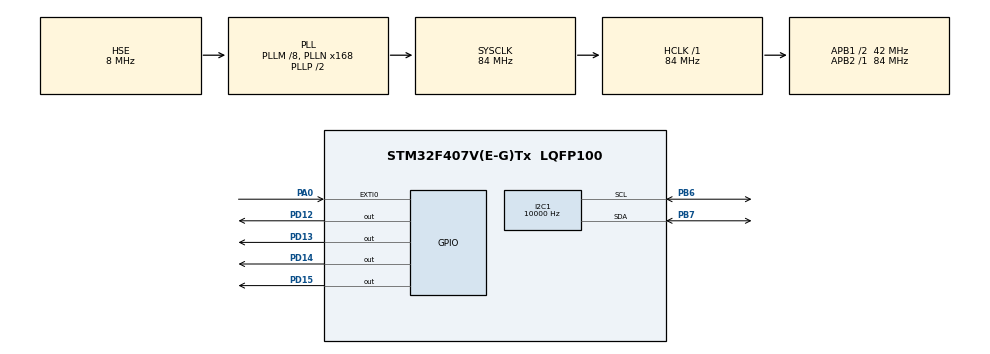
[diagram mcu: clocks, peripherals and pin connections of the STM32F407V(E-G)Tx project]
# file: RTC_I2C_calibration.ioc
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I2C1.ClockSpeed=10000
I2C1.I2C_Mode=I2C_Standard
Mcu.Family=STM32F4
Mcu.Name=STM32F407V(E-G)Tx
Mcu.Package=LQFP100
NVIC.EXTI0_IRQn=true\:0\:0\:false\:false\:true\:true
NVIC.PriorityGroup=NVIC_PRIORITYGROUP_4
PA0-WKUP.Signal=GPXTI0
PA13.Mode=Serial_Wire
PA13.Signal=SYS_JTMS-SWDIO
PA14.Mode=Serial_Wire
PA14.Signal=SYS_JTCK-SWCLK
PB6.Mode=I2C
PB6.Signal=I2C1_SCL
PB7.Mode=I2C
PB7.Signal=I2C1_SDA
PC14-OSC32_IN.Mode=LSE-External-Oscillator
PC14-OSC32_IN.Signal=RCC_OSC32_IN
PC15-OSC32_OUT.Mode=LSE-External-Oscillator
PC15-OSC32_OUT.Signal=RCC_OSC32_OUT
PD12.GPIO_PuPd=GPIO_NOPULL
PD12.GPIO_Speed=GPIO_SPEED_FREQ_VERY_HIGH
PD12.PinState=GPIO_PIN_RESET
PD12.Signal=GPIO_Output
PD13.GPIO_Speed=GPIO_SPEED_FREQ_VERY_HIGH
PD13.Signal=GPIO_Output
PD14.GPIO_Speed=GPIO_SPEED_FREQ_VERY_HIGH
PD14.Signal=GPIO_Output
PD15.GPIO_Speed=GPIO_SPEED_FREQ_VERY_HIGH
PD15.Signal=GPIO_Output
PH0-OSC_IN.Mode=HSE-External-Clock-Source
PH0-OSC_IN.Signal=RCC_OSC_IN
PH1-OSC_OUT.Mode=HSE-External-Clock-Source
PH1-OSC_OUT.Signal=RCC_OSC_OUT
ProjectManager.HeapSize=0x200
ProjectManager.StackSize=0x400
ProjectManager.TargetToolchain=SW4STM32
RCC.48MHZClocksFreq_Value=42000000
RCC.AHBFreq_Value=84000000
RCC.APB1CLKDivider=RCC_HCLK_DIV2
RCC.APB1Freq_Value=42000000
RCC.APB1TimFreq_Value=84000000
RCC.APB2Freq_Value=84000000
RCC.APB2TimFreq_Value=84000000
RCC.CortexFreq_Value=84000000
RCC.HCLKFreq_Value=84000000
RCC.HSE_VALUE=8000000
RCC.HSI_VALUE=16000000
RCC.PLLM=8
RCC.PLLN=168
RCC.PLLSourceVirtual=RCC_PLLSOURCE_HSE
RCC.RCC_RTC_Clock_SourceVirtual=RCC_RTCCLKSOURCE_LSE
RCC.SYSCLKFreq_VALUE=84000000
RCC.SYSCLKSource=RCC_SYSCLKSOURCE_PLLCLK
RCC.VCOOutputFreq_Value=168000000
RTC.Alarm=RTC_ALARM_A
RTC.Alarm_B=RTC_ALARM_B
RTC.Format=RTC_FORMAT_BIN
RTC.Hours=23
RTC.Minutes=59
RTC.Minutes_A=0
RTC.Seconds=59
RTC.Seconds_A=5
RTC.SubSeconds_A=0
RTC.Year=19
VP_RTC_VS_RTC_Activate.Mode=RTC_Enabled
VP_RTC_VS_RTC_Alarm_A_Intern.Mode=Alarm A
VP_RTC_VS_RTC_Alarm_B_Intern.Mode=Alarm B
VP_RTC_VS_RTC_Calendar.Mode=RTC_Calendar
board=custom

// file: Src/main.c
/* USER CODE BEGIN Header */
/**
 ******************************************************************************
 * @file           : main.c
 * @brief          : Main program body
 ******************************************************************************
 ** This notice applies to any and all portions of this file
 * that are not between comment pairs USER CODE BEGIN and
 * USER CODE END. Other portions of this file, whether
 * inserted by the user or by software development tools
 * are owned by their respective copyright owners.
 *
 * COPYRIGHT(c) 2019 STMicroelectronics
 *
 * Redistribution and use in source and binary forms, with or without modification,
 * are permitted provided that the following conditions are met:
 *   1. Redistributions of source code must retain the above copyright notice,
 *      this list of conditions and the following disclaimer.
 *   2. Redistributions in binary form must reproduce the above copyright notice,
 *      this list of conditions and the following disclaimer in the documentation
 *      and/or other materials provided with the distribution.
 *   3. Neither the name of STMicroelectronics nor the names of its contributors
 *      may be used to endorse or promote products derived from this software
 *      without specific prior written permission.
 *
 * THIS SOFTWARE IS PROVIDED BY THE COPYRIGHT HOLDERS AND CONTRIBUTORS "AS IS"
 * AND ANY EXPRESS OR IMPLIED WARRANTIES, INCLUDING, BUT NOT LIMITED TO, THE
 * IMPLIED WARRANTIES OF MERCHANTABILITY AND FITNESS FOR A PARTICULAR PURPOSE ARE
 * DISCLAIMED. IN NO EVENT SHALL THE COPYRIGHT HOLDER OR CONTRIBUTORS BE LIABLE
 * FOR ANY DIRECT, INDIRECT, INCIDENTAL, SPECIAL, EXEMPLARY, OR CONSEQUENTIAL
 * DAMAGES (INCLUDING, BUT NOT LIMITED TO, PROCUREMENT OF SUBSTITUTE GOODS OR
 * SERVICES; LOSS OF USE, DATA, OR PROFITS; OR BUSINESS INTERRUPTION) HOWEVER
 * CAUSED AND ON ANY THEORY OF LIABILITY, WHETHER IN CONTRACT, STRICT LIABILITY,
 * OR TORT (INCLUDING NEGLIGENCE OR OTHERWISE) ARISING IN ANY WAY OUT OF THE USE
 * OF THIS SOFTWARE, EVEN IF ADVISED OF THE POSSIBILITY OF SUCH DAMAGE.
 *
 ******************************************************************************
 */
/* USER CODE END Header */

#include "main.h"

/* USER CODE BEGIN Includes */
#include "ssd1306_tests.h"
#include "ssd1306.h"
#include "rtc_mon_1.h"
/* USER CODE END Includes */

I2C_HandleTypeDef hi2c1;

RTC_HandleTypeDef hrtc;

/* USER CODE BEGIN PV */
RTC_TimeTypeDef sTime;
RTC_DateTypeDef sDate;

uint32_t lastdebouncetime;
uint8_t buttonpressed;//button pressed
uint8_t longpressed_detected;//detect long pressed button
uint8_t State_buttonpressed1;//state allow calibration Hour
uint8_t State_buttonpressed2;//state allow calibration Minutes
uint8_t State_buttonpressed3;//state idle
uint8_t flag1;//enable short press to increase the Hour
uint8_t flag2;//enable short press to increase Minute
/* USER CODE END PV */

void SystemClock_Config(void);
static void MX_GPIO_Init(void);
static void MX_I2C1_Init(void);
static void MX_RTC_Init(void);

/* USER CODE BEGIN 0 */
void initOLED() {
	ssd1306_Init();
	ssd1306_Fill(White);
	// Flush buffer to screen
	ssd1306_UpdateScreen();
}
/* USER CODE END 0 */

int main(void)
{

  /* MCU Configuration--------------------------------------------------------*/

  /* Reset of all peripherals, Initializes the Flash interface and the Systick. */
  HAL_Init();

  /* Configure the system clock */
  SystemClock_Config();

  /* USER CODE BEGIN SysInit */
	__HAL_RCC_PWR_CLK_ENABLE();
	void HAL_PWR_EnableBkUpAccess();
	__HAL_RCC_RTC_CONFIG(RCC_RTCCLKSOURCE_LSI);
	__HAL_RCC_RTC_ENABLE();

  /* USER CODE END SysInit */

  /* Initialize all configured peripherals */
  MX_GPIO_Init();
  MX_I2C1_Init();
  MX_RTC_Init();
  /* USER CODE BEGIN 2 */
  //monitoring OLED
  initOLED();

  /* USER CODE END 2 */

  /* Infinite loop */
  /* USER CODE BEGIN WHILE */
	while (1)
	{
		HAL_GPIO_TogglePin(GPIOD, GPIO_PIN_12);
		HAL_RTC_GetTime(&hrtc,&sTime,RTC_FORMAT_BIN);
		HAL_RTC_GetDate(&hrtc, &sDate, RTC_FORMAT_BIN);
		//show on OLED
		RTC_Mon(&sTime);
/*detect the long pressed button to enter the Hour calibration*/
		if((HAL_GPIO_ReadPin(GPIOA,GPIO_PIN_0)==1)&&(!buttonpressed)&&((HAL_GetTick()- lastdebouncetime)>5000))
		{

			HAL_GPIO_TogglePin(GPIOD, GPIO_PIN_14);
			buttonpressed=1;
			State_buttonpressed1 ^= 0x01;
			State_buttonpressed3=0;

		}

		if (State_buttonpressed1&&!State_buttonpressed2)
		{
			if ((HAL_GPIO_ReadPin(GPIOA,GPIO_PIN_0)==1)&&!flag1)
			{

				HAL_Delay(500);
				sTime.Hours++;
				flag1=1;
				if (sTime.Hours >24)
				{
					sTime.Hours=0;
					HAL_RTC_SetTime(&hrtc, &sTime, RTC_FORMAT_BIN);
				}
				else
					HAL_RTC_SetTime(&hrtc, &sTime, RTC_FORMAT_BIN);

			}
			/*detect the long pressed button to enter the Minute calibration*/
			if((HAL_GPIO_ReadPin(GPIOA,GPIO_PIN_0)==1)&&(!buttonpressed)&&((HAL_GetTick()- lastdebouncetime)>3000))
			{

				HAL_GPIO_TogglePin(GPIOD, GPIO_PIN_13);
				buttonpressed=1;
				State_buttonpressed2 ^= 0x01;
				State_buttonpressed1=0;

			}
			/*detect the short pressed button or long press and decide to increase Hour*/
			if (((HAL_GetTick()- lastdebouncetime)>400))
			{
				flag1=1;
			}
			else {

				flag1=0;
			}
		}
		else
		{

		}
		if (State_buttonpressed2&&!State_buttonpressed3)
		{
			if ((HAL_GPIO_ReadPin(GPIOA,GPIO_PIN_0)==1)&&!flag2)
			{
				HAL_Delay(500);
				sTime.Minutes=sTime.Minutes +0x1;
				flag2=1;
				if (sTime.Minutes > 60)
				{
					sTime.Minutes=0;
				}
				HAL_RTC_SetTime(&hrtc, &sTime, RTC_FORMAT_BIN);
			}

			if((HAL_GPIO_ReadPin(GPIOA,GPIO_PIN_0)==1)&&(!buttonpressed)&&((HAL_GetTick()- lastdebouncetime)>2000))
			{
				buttonpressed=1;
				State_buttonpressed3 ^= 0x01;

			}
			/*detect the short pressed button or long press and decide to increase Minute*/
			if (((HAL_GetTick()- lastdebouncetime)>400))
						{
							flag2=1;
						}
						else {

							flag2=0;
						}
		}
		if (State_buttonpressed3)
		{
			HAL_GPIO_WritePin(GPIOD, GPIO_PIN_15,SET);
			State_buttonpressed1=0;
			State_buttonpressed2=0;
			flag1=0;
			flag2=0;
		}
		else
		{

		}
    /* USER CODE END WHILE */

    /* USER CODE BEGIN 3 */

		/* USER CODE END WHILE */

		/* USER CODE BEGIN 3 */
	}
  /* USER CODE END 3 */
}

void SystemClock_Config(void)
{
  RCC_OscInitTypeDef RCC_OscInitStruct = {0};
  RCC_ClkInitTypeDef RCC_ClkInitStruct = {0};
  RCC_PeriphCLKInitTypeDef PeriphClkInitStruct = {0};

  /**Configure the main internal regulator output voltage
  */
  __HAL_RCC_PWR_CLK_ENABLE();
  __HAL_PWR_VOLTAGESCALING_CONFIG(PWR_REGULATOR_VOLTAGE_SCALE1);
  /**Initializes the CPU, AHB and APB busses clocks
  */
  RCC_OscInitStruct.OscillatorType = RCC_OSCILLATORTYPE_HSE|RCC_OSCILLATORTYPE_LSE;
  RCC_OscInitStruct.HSEState = RCC_HSE_BYPASS;
  RCC_OscInitStruct.LSEState = RCC_LSE_ON;
  RCC_OscInitStruct.PLL.PLLState = RCC_PLL_ON;
  RCC_OscInitStruct.PLL.PLLSource = RCC_PLLSOURCE_HSE;
  RCC_OscInitStruct.PLL.PLLM = 8;
  RCC_OscInitStruct.PLL.PLLN = 168;
  RCC_OscInitStruct.PLL.PLLP = RCC_PLLP_DIV2;
  RCC_OscInitStruct.PLL.PLLQ = 4;
  if (HAL_RCC_OscConfig(&RCC_OscInitStruct) != HAL_OK)
  {
    Error_Handler();
  }
  /**Initializes the CPU, AHB and APB busses clocks
  */
  RCC_ClkInitStruct.ClockType = RCC_CLOCKTYPE_HCLK|RCC_CLOCKTYPE_SYSCLK
                              |RCC_CLOCKTYPE_PCLK1|RCC_CLOCKTYPE_PCLK2;
  RCC_ClkInitStruct.SYSCLKSource = RCC_SYSCLKSOURCE_PLLCLK;
  RCC_ClkInitStruct.AHBCLKDivider = RCC_SYSCLK_DIV1;
  RCC_ClkInitStruct.APB1CLKDivider = RCC_HCLK_DIV2;
  RCC_ClkInitStruct.APB2CLKDivider = RCC_HCLK_DIV1;

  if (HAL_RCC_ClockConfig(&RCC_ClkInitStruct, FLASH_LATENCY_2) != HAL_OK)
  {
    Error_Handler();
  }
  PeriphClkInitStruct.PeriphClockSelection = RCC_PERIPHCLK_RTC;
  PeriphClkInitStruct.RTCClockSelection = RCC_RTCCLKSOURCE_LSE;
  if (HAL_RCCEx_PeriphCLKConfig(&PeriphClkInitStruct) != HAL_OK)
  {
    Error_Handler();
  }
}

static void MX_I2C1_Init(void)
{

  hi2c1.Instance = I2C1;
  hi2c1.Init.ClockSpeed = 10000;
  hi2c1.Init.DutyCycle = I2C_DUTYCYCLE_2;
  hi2c1.Init.OwnAddress1 = 0;
  hi2c1.Init.AddressingMode = I2C_ADDRESSINGMODE_7BIT;
  hi2c1.Init.DualAddressMode = I2C_DUALADDRESS_DISABLE;
  hi2c1.Init.OwnAddress2 = 0;
  hi2c1.Init.GeneralCallMode = I2C_GENERALCALL_DISABLE;
  hi2c1.Init.NoStretchMode = I2C_NOSTRETCH_DISABLE;
  if (HAL_I2C_Init(&hi2c1) != HAL_OK)
  {
    Error_Handler();
  }

}

static void MX_RTC_Init(void)
{

  RTC_TimeTypeDef sTime = {0};
  RTC_DateTypeDef sDate = {0};
  RTC_AlarmTypeDef sAlarm = {0};

  /**Initialize RTC Only
  */
  hrtc.Instance = RTC;
  hrtc.Init.HourFormat = RTC_HOURFORMAT_24;
  hrtc.Init.AsynchPrediv = 127;
  hrtc.Init.SynchPrediv = 255;
  hrtc.Init.OutPut = RTC_OUTPUT_DISABLE;
  hrtc.Init.OutPutPolarity = RTC_OUTPUT_POLARITY_HIGH;
  hrtc.Init.OutPutType = RTC_OUTPUT_TYPE_OPENDRAIN;
  if (HAL_RTC_Init(&hrtc) != HAL_OK)
  {
    Error_Handler();
  }

  /**Initialize RTC and set the Time and Date
  */
  sTime.Hours = 23;
  sTime.Minutes = 59;
  sTime.Seconds = 59;
  sTime.DayLightSaving = RTC_DAYLIGHTSAVING_NONE;
  sTime.StoreOperation = RTC_STOREOPERATION_RESET;
  if (HAL_RTC_SetTime(&hrtc, &sTime, RTC_FORMAT_BIN) != HAL_OK)
  {
    Error_Handler();
  }
  sDate.WeekDay = RTC_WEEKDAY_MONDAY;
  sDate.Month = RTC_MONTH_JANUARY;
  sDate.Date = 1;
  sDate.Year = 19;

  if (HAL_RTC_SetDate(&hrtc, &sDate, RTC_FORMAT_BIN) != HAL_OK)
  {
    Error_Handler();
  }
  /**Enable the Alarm A
  */
  sAlarm.AlarmTime.Hours = 0;
  sAlarm.AlarmTime.Minutes = 0;
  sAlarm.AlarmTime.Seconds = 5;
  sAlarm.AlarmTime.SubSeconds = 0;
  sAlarm.AlarmTime.DayLightSaving = RTC_DAYLIGHTSAVING_NONE;
  sAlarm.AlarmTime.StoreOperation = RTC_STOREOPERATION_RESET;
  sAlarm.AlarmMask = RTC_ALARMMASK_NONE;
  sAlarm.AlarmSubSecondMask = RTC_ALARMSUBSECONDMASK_ALL;
  sAlarm.AlarmDateWeekDaySel = RTC_ALARMDATEWEEKDAYSEL_DATE;
  sAlarm.AlarmDateWeekDay = 1;
  sAlarm.Alarm = RTC_ALARM_A;
  if (HAL_RTC_SetAlarm(&hrtc, &sAlarm, RTC_FORMAT_BIN) != HAL_OK)
  {
    Error_Handler();
  }
  /**Enable the Alarm B
  */
  sAlarm.AlarmTime.Seconds = 0;
  sAlarm.AlarmDateWeekDay = 1;
  sAlarm.Alarm = RTC_ALARM_B;
  if (HAL_RTC_SetAlarm(&hrtc, &sAlarm, RTC_FORMAT_BIN) != HAL_OK)
  {
    Error_Handler();
  }

}

static void MX_GPIO_Init(void)
{
  GPIO_InitTypeDef GPIO_InitStruct = {0};

  /* GPIO Ports Clock Enable */
  __HAL_RCC_GPIOC_CLK_ENABLE();
  __HAL_RCC_GPIOH_CLK_ENABLE();
  __HAL_RCC_GPIOA_CLK_ENABLE();
  __HAL_RCC_GPIOD_CLK_ENABLE();
  __HAL_RCC_GPIOB_CLK_ENABLE();

  /*Configure GPIO pin Output Level */
  HAL_GPIO_WritePin(GPIOD, GPIO_PIN_12|GPIO_PIN_13|GPIO_PIN_14|GPIO_PIN_15, GPIO_PIN_RESET);

  /*Configure GPIO pin : PA0 */
  GPIO_InitStruct.Pin = GPIO_PIN_0;
  GPIO_InitStruct.Mode = GPIO_MODE_IT_RISING;
  GPIO_InitStruct.Pull = GPIO_NOPULL;
  HAL_GPIO_Init(GPIOA, &GPIO_InitStruct);

  /*Configure GPIO pins : PD12 PD13 PD14 PD15 */
  GPIO_InitStruct.Pin = GPIO_PIN_12|GPIO_PIN_13|GPIO_PIN_14|GPIO_PIN_15;
  GPIO_InitStruct.Mode = GPIO_MODE_OUTPUT_PP;
  GPIO_InitStruct.Pull = GPIO_NOPULL;
  GPIO_InitStruct.Speed = GPIO_SPEED_FREQ_VERY_HIGH;
  HAL_GPIO_Init(GPIOD, &GPIO_InitStruct);

  /* EXTI interrupt init*/
  HAL_NVIC_SetPriority(EXTI0_IRQn, 0, 0);
  HAL_NVIC_EnableIRQ(EXTI0_IRQn);

}

/* USER CODE BEGIN 4 */

void HAL_GPIO_EXTI_Callback(uint16_t GPIO_Pin)
{
	lastdebouncetime = HAL_GetTick();
	buttonpressed =0;
}
/* USER CODE END 4 */

void Error_Handler(void)
{
}

/************************ (C) COPYRIGHT STMicroelectronics *****END OF FILE****/
